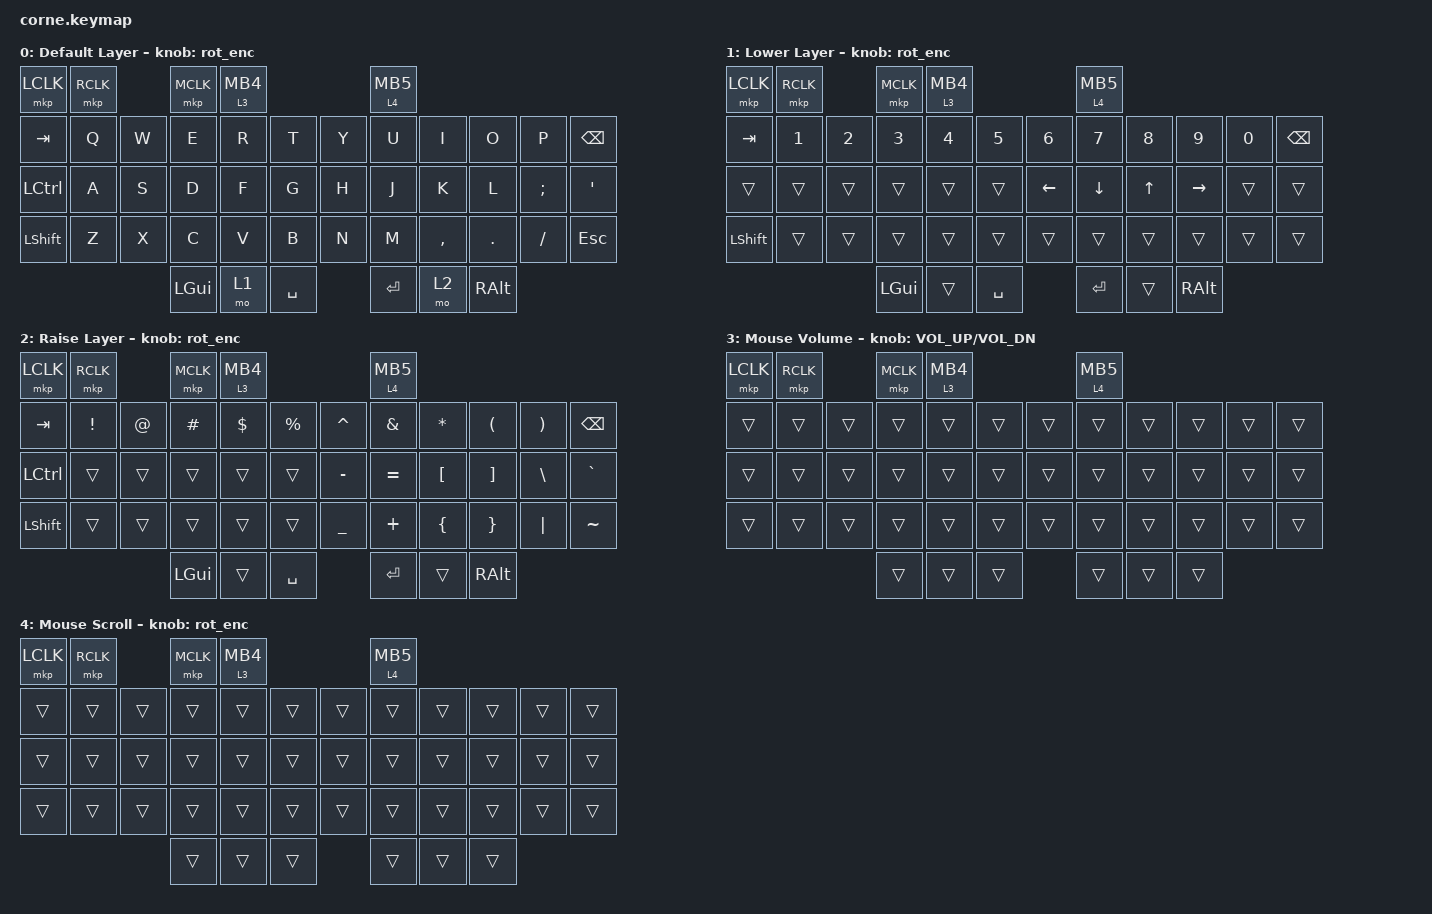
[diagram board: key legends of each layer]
/*
 * Copyright (c) 2020 The ZMK Contributors
 *
 * SPDX-License-Identifier: MIT
 *
 * Corne + Lariska 鼠标 的统一 keymap。
 *
 * 这个文件被三个固件共用，但**只有 dongle（central）会真正使用它**：
 * ZMK 的 split 架构里，peripheral 只上报"哪个位置被按下"，由 central 的 keymap
 * 决定这个位置是什么键。所以鼠标按键含义、Corne 键位、层，全都在这里定义。
 *
 * ---------------------------------------------------------------------------
 * 键位编号（与 config/corne.overlay 里的 transform 覆盖必须一致）
 * ---------------------------------------------------------------------------
 *   0~4  : Lariska 鼠标的 5 个按键
 *          0 = 左键 LCLK   1 = 右键 RCLK   2 = 中键 MCLK
 *          3 = 前进 MB4（点按）/ 按住进层 3
 *          4 = 后退 MB5（点按）/ 按住进层 4
 *   5~46 : Corne 自己的 42 键（顺序与官方 corne.keymap 相同）
 *
 * 鼠标固件那边按键保持原样（gpio-direct kscan，位置 0~4），
 * 是我们在 Corne 的 matrix-transform 前面插了 5 个占位条目，把 42 键整体
 * 后移到 5~46（见 config/corne.overlay）。
 *
 * ---------------------------------------------------------------------------
 * 层
 * ---------------------------------------------------------------------------
 *   0 default   Corne 默认层 + 鼠标按键
 *   1 lower     Corne 数字/方向层
 *   2 raise     Corne 符号层
 *   3 mouse_vol 按住鼠标第 4 键时进入（滚轮变成音量）
 *   4 mouse_scr 按住鼠标第 5 键时进入（仍是滚轮）
 *
 * 滚轮（鼠标的编码器 → sensor 事件）由每层的 sensor-bindings 决定。
 */

#include <behaviors.dtsi>
#include <dt-bindings/zmk/keys.h>
#include <dt-bindings/zmk/pointing.h>

/ {
    behaviors {
        /*
         * 鼠标第 4/5 键：点按 = MB4/MB5，按住 = 临时层（3/4）。
         * 对应鼠标原来的 u_lt_mouse，只是层号从 1/2 改成 3/4，
         * 免得和 Corne 的 lower/raise 冲突。
         */
        u_lt_mouse: u_lt_mouse {
            compatible = "zmk,behavior-hold-tap";
            #binding-cells = <2>;
            tapping-term-ms = <220>;
            quick-tap-ms = <200>;
            flavor = "tap-preferred";
            bindings = <&mo>, <&mkp>;
        };

        /* 编码器旋转 → 上下滚（鼠标原来的 rot_enc，用 ZMK 内置的 &msc 滚轮行为） */
        rot_enc: sensor_rotate {
            compatible = "zmk,behavior-sensor-rotate";
            #sensor-binding-cells = <0>;
            bindings = <&msc MOVE_Y(-37)>, <&msc MOVE_Y(37)>;
            tap-ms = <65>;
        };
    };

    keymap {
        compatible = "zmk,keymap";

        default_layer {
            display-name = "Default Layer";
// 鼠标(0~4)：LCLK RCLK MCLK MB4 MB5    Corne(5~46) 见下面注释
// -----------------------------------------------------------------------------------------
// |  TAB |  Q  |  W  |  E  |  R  |  T  |   |  Y  |  U   |  I  |  O  |  P  | BSPC |
// | CTRL |  A  |  S  |  D  |  F  |  G  |   |  H  |  J   |  K  |  L  |  ;  |  '   |
// | SHFT |  Z  |  X  |  C  |  V  |  B  |   |  N  |  M   |  ,  |  .  |  /  | ESC  |
//                    | GUI | LWR | SPC |   | ENT | RSE  | ALT |
            bindings = <
   &mkp LCLK &mkp RCLK &mkp MCLK &u_lt_mouse 3 MB4 &u_lt_mouse 4 MB5
   &kp TAB   &kp Q &kp W &kp E &kp R &kp T   &kp Y &kp U  &kp I     &kp O   &kp P    &kp BSPC
   &kp LCTRL &kp A &kp S &kp D &kp F &kp G   &kp H &kp J  &kp K     &kp L   &kp SEMI &kp SQT
   &kp LSHFT &kp Z &kp X &kp C &kp V &kp B   &kp N &kp M  &kp COMMA &kp DOT &kp FSLH &kp ESC
                           &kp LGUI &mo 1 &kp SPACE   &kp RET &mo 2 &kp RALT
            >;
            sensor-bindings = <&rot_enc>;
        };

        lower_layer {
            display-name = "Lower Layer";
// -----------------------------------------------------------------------------------------
// |  TAB |  1  |  2  |  3  |  4  |  5  |   |  6  |  7  |  8  |  9  |  0  | BSPC |
// |      |     |     |     |     |     |   | LFT | DWN |  UP | RGT |     |      |
// | SHFT |     |     |     |     |     |   |     |     |     |     |     |      |
//                    | GUI |     | SPC |   | ENT |     | ALT |
            bindings = <
   &mkp LCLK &mkp RCLK &mkp MCLK &u_lt_mouse 3 MB4 &u_lt_mouse 4 MB5
   &kp TAB   &kp N1 &kp N2 &kp N3 &kp N4 &kp N5   &kp N6   &kp N7   &kp N8 &kp N9    &kp N0 &kp BSPC
   &trans    &trans &trans &trans &trans &trans   &kp LEFT &kp DOWN &kp UP &kp RIGHT &trans &trans
   &kp LSHFT &trans &trans &trans &trans &trans   &trans   &trans   &trans &trans    &trans &trans
                           &kp LGUI &trans &kp SPACE   &kp RET  &trans   &kp RALT
            >;
            sensor-bindings = <&rot_enc>;
        };

        raise_layer {
            display-name = "Raise Layer";
// -----------------------------------------------------------------------------------------
// |  TAB |  !  |  @  |  #  |  $  |  %  |   |  ^  |  &  |  *  |  (  |  )  | BSPC |
// | CTRL |     |     |     |     |     |   |  -  |  =  |  [  |  ]  |  \  |  `   |
// | SHFT |     |     |     |     |     |   |  _  |  +  |  {  |  }  | "|" |  ~   |
//                    | GUI |     | SPC |   | ENT |     | ALT |
            bindings = <
   &mkp LCLK &mkp RCLK &mkp MCLK &u_lt_mouse 3 MB4 &u_lt_mouse 4 MB5
   &kp  TAB  &kp EXCL &kp AT &kp HASH &kp DLLR &kp PRCNT   &kp CARET &kp AMPS  &kp ASTRK &kp LPAR &kp RPAR &kp BSPC
   &kp LCTRL &trans   &trans &trans   &trans   &trans      &kp MINUS &kp EQUAL &kp LBKT  &kp RBKT &kp BSLH &kp GRAVE
   &kp LSHFT &trans   &trans &trans   &trans   &trans      &kp UNDER &kp PLUS  &kp LBRC  &kp RBRC &kp PIPE &kp TILDE
                             &kp LGUI &trans   &kp SPACE   &kp RET   &trans    &kp RALT
            >;
            sensor-bindings = <&rot_enc>;
        };

        /*
         * 鼠标第 4 键按住时进入：滚轮调音量（鼠标原来的 VOLUME 层）。
         * Corne 的键位在这一层全是 &trans，会回落到下面激活的层。
         */
        mouse_volume_layer {
            display-name = "Mouse Volume";
            bindings = <
   &mkp LCLK &mkp RCLK &mkp MCLK &u_lt_mouse 3 MB4 &u_lt_mouse 4 MB5
   &trans &trans &trans &trans &trans &trans   &trans &trans &trans &trans &trans &trans
   &trans &trans &trans &trans &trans &trans   &trans &trans &trans &trans &trans &trans
   &trans &trans &trans &trans &trans &trans   &trans &trans &trans &trans &trans &trans
                       &trans &trans &trans   &trans &trans &trans
            >;
            sensor-bindings = <&inc_dec_kp C_VOL_UP C_VOL_DN>;
        };

        /* 鼠标第 5 键按住时进入：滚轮（鼠标原来的 ADDIONAL 层） */
        mouse_scroll_layer {
            display-name = "Mouse Scroll";
            bindings = <
   &mkp LCLK &mkp RCLK &mkp MCLK &u_lt_mouse 3 MB4 &u_lt_mouse 4 MB5
   &trans &trans &trans &trans &trans &trans   &trans &trans &trans &trans &trans &trans
   &trans &trans &trans &trans &trans &trans   &trans &trans &trans &trans &trans &trans
   &trans &trans &trans &trans &trans &trans   &trans &trans &trans &trans &trans &trans
                       &trans &trans &trans   &trans &trans &trans
            >;
            sensor-bindings = <&rot_enc>;
        };
    };
};

/*
 * 滚轮行为：直接复用 ZMK 内置的 &msc（zmk,behavior-input-two-axis），
 * 参数照抄鼠标原来 ec_s 的设定（响应更快、没有加速曲线）。
 */
&msc {
    trigger-period-ms = <3>;
    time-to-max-speed-ms = <100>;
    acceleration-exponent = <0>;
};
